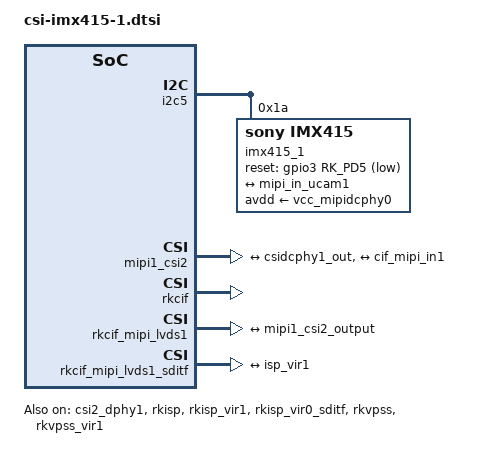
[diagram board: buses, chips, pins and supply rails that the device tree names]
&csi2_dphy1 {
	status = "okay";

	ports {
		#address-cells = <1>;
		#size-cells = <0>;
		port@0 {
			reg = <0>;
			#address-cells = <1>;
			#size-cells = <0>;

			mipi_in_ucam1: endpoint@1 {
				reg = <1>;
				remote-endpoint = <&imx415_out1>;
				data-lanes = <1 2 3 4>;
			};
		};

		port@1 {
			reg = <1>;
			#address-cells = <1>;
			#size-cells = <0>;

			csidcphy1_out: endpoint@0 {
				reg = <0>;
				remote-endpoint = <&mipi1_csi2_input>;
			};
		};
	};
};

&i2c5 {
	status = "okay";
	pinctrl-0 = <&i2c5m1_xfer>;

	imx415_1: imx415@1a {
		compatible = "sony,imx415";
		reg = <0x1a>;
		clocks = <&cru CLK_MIPI_CAMERAOUT_M1>;
		clock-names = "xvclk";
		pinctrl-names = "default";
		pinctrl-0 = <&cam_clk1m0_clk1>;
		power-domains = <&power RK3576_PD_VI>;
		avdd-supply = <&vcc_mipidcphy0>;
		reset-gpios = <&gpio3 RK_PD5 GPIO_ACTIVE_LOW>;
		rockchip,camera-module-index = <0>;
		rockchip,camera-module-facing = "back";
		rockchip,camera-module-name = "CMK-OT2022-PX1";
		rockchip,camera-module-lens-name = "IR0147-50IRC-8M-F20";
		port {
			imx415_out1: endpoint {
				remote-endpoint = <&mipi_in_ucam1>;
				data-lanes = <1 2 3 4>;
			};
		};
	};
};

&mipi1_csi2 {
	status = "okay";

	ports {
		#address-cells = <1>;
		#size-cells = <0>;

		port@0 {
			reg = <0>;
			#address-cells = <1>;
			#size-cells = <0>;

			mipi1_csi2_input: endpoint@1 {
				reg = <1>;
				remote-endpoint = <&csidcphy1_out>;
			};
		};

		port@1 {
			reg = <1>;
			#address-cells = <1>;
			#size-cells = <0>;

			mipi1_csi2_output: endpoint@0 {
				reg = <0>;
				remote-endpoint = <&cif_mipi_in1>;
			};
		};
	};
};

&rkcif {
	status = "okay";
};

&rkcif_mipi_lvds1 {
	status = "okay";

	port {
		cif_mipi_in1: endpoint {
			remote-endpoint = <&mipi1_csi2_output>;
		};
	};
};

&rkcif_mipi_lvds1_sditf {
	status = "okay";

	port {
		mipi1_lvds_sditf: endpoint {
			remote-endpoint = <&isp_vir1>;
		};
	};
};

&rkcif_mmu {
	status = "okay";
};

&rkisp {
	status = "okay";
};

&rkisp_mmu {
	status = "okay";
};

&rkisp_vir1 {
	status = "okay";

	port {
		#address-cells = <1>;
		#size-cells = <0>;

		isp_vir1: endpoint@0 {
			reg = <0>;
			remote-endpoint = <&mipi1_lvds_sditf>;
		};
	};
};

&rkisp_vir0_sditf {
	status = "okay";
};

&rkvpss {
	status = "okay";
};

&rkvpss_mmu {
	status = "okay";
};

&rkvpss_vir1 {
	status = "okay";
};
